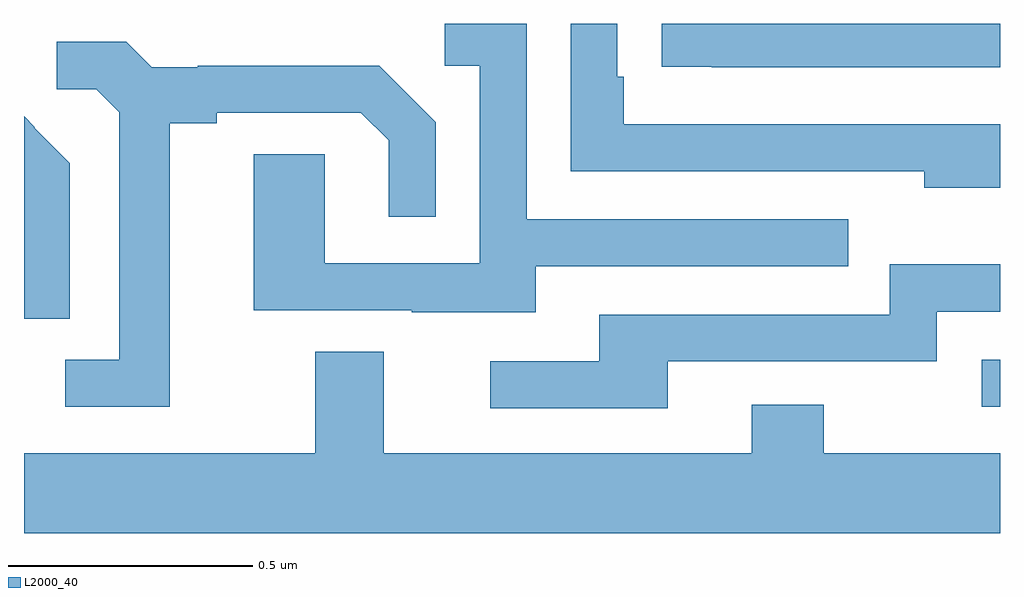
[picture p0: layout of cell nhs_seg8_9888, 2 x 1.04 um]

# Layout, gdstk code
import gdstk
lib = gdstk.Library(unit=1e-6, precision=1e-09)
def R(c, l, rs):  # rectangles x0, y0, x1, y1
    for r in rs: c.add(gdstk.rectangle(r[:2], r[2:], *l))
def P(c, l, *ps):  # polygons
    for p in ps: c.add(gdstk.Polygon(p, *l))
L2000_40 = (2000, 40)

nhs_seg8_9888 = lib.new_cell('nhs_seg8_9888')
R(nhs_seg8_9888, L2000_40, [(243.963,1094.115,244,1094.211)])
P(nhs_seg8_9888, L2000_40, [(244,1094.9),(243.307,1094.9),(243.307,1094.812),(243.409,1094.812),(243.409,1094.811),(244,1094.811)],
  [(244,1094.694),(243.229,1094.694),(243.229,1094.791),(243.216,1094.791),(243.216,1094.9),(243.12,1094.9),(243.12,1094.598),(243.845,1094.598),(243.845,1094.564),(244,1094.564)],
  [(243.049,1094.403),(243.689,1094.403),(243.689,1094.499),(243.03,1094.499),(243.03,1094.9),(242.862,1094.9),(242.862,1094.814),(242.934,1094.814),(242.934,1094.409),(242.616,1094.409),(242.616,1094.633),(242.471,1094.633),(242.471,1094.313),(242.795,1094.313),(242.795,1094.309),(243.049,1094.309)],
  [(242.299,1094.696),(242.395,1094.696),(242.395,1094.718),(242.69,1094.718),(242.747,1094.661),(242.747,1094.505),(242.844,1094.505),(242.844,1094.698),(242.728,1094.814),(242.356,1094.814),(242.356,1094.811),(242.262,1094.811),(242.21,1094.863),(242.067,1094.863),(242.067,1094.766),(242.148,1094.766),(242.195,1094.719),(242.195,1094.211),(242.085,1094.211),(242.085,1094.115),(242.299,1094.115)],
  [(242.094,1094.614),(242.021,1094.687),(242.022,1094.688),(242,1094.71),(242,1094.296),(242.094,1094.296)],
  [(243.319,1094.208),(243.87,1094.208),(243.87,1094.31),(244,1094.31),(244,1094.407),(243.774,1094.407),(243.774,1094.304),(243.179,1094.304),(243.179,1094.208),(242.955,1094.208),(242.955,1094.112),(243.319,1094.112)],
  [(244,1094.02),(243.639,1094.02),(243.639,1094.119),(243.491,1094.119),(243.491,1094.02),(242.737,1094.02),(242.737,1094.228),(242.597,1094.228),(242.597,1094.02),(242,1094.02),(242,1093.856),(244,1093.856)])

lib.write_gds('nhs_seg8_9888.gds')
